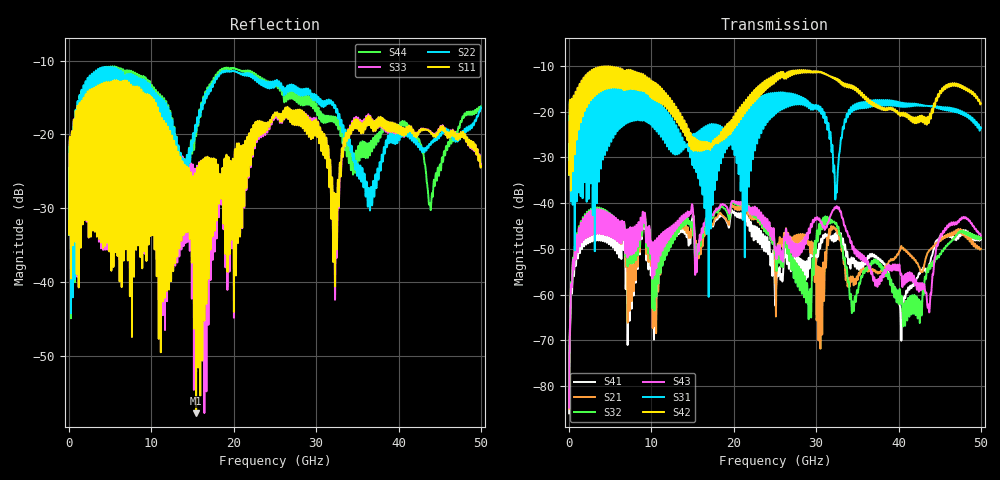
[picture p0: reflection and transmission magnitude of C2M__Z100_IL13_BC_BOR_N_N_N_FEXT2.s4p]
# GHz S MA R 50
! S-Parameters data
! Freq  magS11  angS11  magS12  angS12  magS13  angS13  magS14  angS14
!  magS21  angS21  magS22  angS22  magS23  angS23  magS24  angS24
!  magS31  angS31  magS32  angS32  magS33  angS33  magS34  angS34
!  magS41  angS41  magS42  angS42  magS43  angS43  magS44  angS44
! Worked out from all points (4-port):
!   5000 points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, 10 MHz to 50 GHz, reference 50 ohm
!   strongest paths, dB at 10 MHz, 12.51 GHz, 25.01 GHz, 37.51 GHz, 50 GHz:
!     S42: -33.8, -17.6, -12.1, -18.8, -18.2
!     S31: -33.8, -21.4, -16.7, -18.0, -23.6
!     S43: -84.7, -46.0, -50.1, -57.0, -47.1
!     S32: -84.3, -47.8, -51.2, -52.8, -47.6
!     S21: -84.9, -47.1, -54.6, -55.4, -50.0
!     S41: -85.9, -47.7, -61.6, -52.0, -47.9
!   lowest |S11| = -57.8 dB at 15.43 GHz (marker M1), VSWR 1.00, Z = 50 - j0.129 ohm
!   |S11| at or under -10 dB: start of sweep to end of sweep
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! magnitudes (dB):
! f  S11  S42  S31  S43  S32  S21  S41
! 10 MHz  -33.6  -33.8  -33.8  -84.7  -84.3  -84.9  -85.9
! 2.19 GHz  -18.6  -14.6  -17.1  -42.3  -41.9  -42.6  -43.7
! 15.43 GHz  -57.8  -27.0  -30.7  -52.6  -49.9  -48.9  -49.1
! 27.93 GHz  -17.8  -11.1  -16.7  -50.9  -55.8  -48.1  -54.1
! 32.44 GHz  -29.0  -13.0  -36.6  -40.9  -44.3  -45.7  -46.9
! 40.36 GHz  -19.6  -20.3  -18.4  -55.7  -60.5  -49.4  -69.4
! 50 GHz  -24.3  -18.2  -23.6  -47.1  -47.6  -50.0  -47.9
